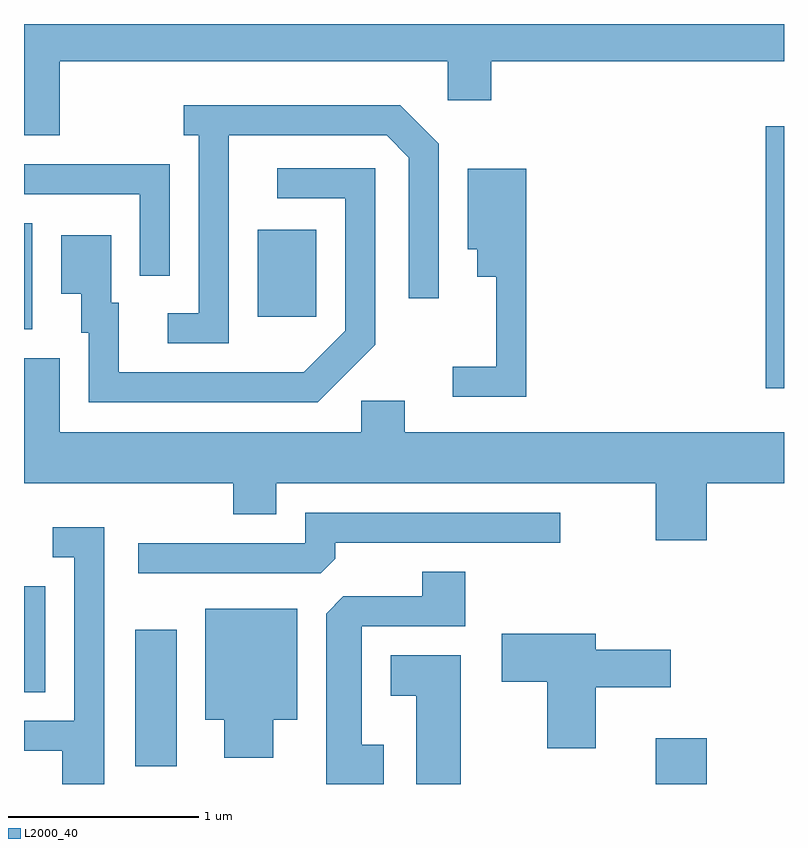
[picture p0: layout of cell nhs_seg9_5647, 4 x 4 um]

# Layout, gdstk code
import gdstk
lib = gdstk.Library(unit=1e-6, precision=1e-09)
def R(c, l, rs):  # rectangles x0, y0, x1, y1
    for r in rs: c.add(gdstk.rectangle(r[:2], r[2:], *l))
def P(c, l, *ps):  # polygons
    for p in ps: c.add(gdstk.Polygon(p, *l))
L2000_40 = (2000, 40)

nhs_seg9_5647 = lib.new_cell('nhs_seg9_5647')
R(nhs_seg9_5647, L2000_40, [(354.936,2012.432,355.204,2012.674), (352.196,2012.526,352.414,2013.244), (351.611,2012.916,351.724,2013.474), (355.516,2014.516,355.611,2015.894), (351.611,2014.826,351.654,2015.384), (352.841,2014.891,353.149,2015.349)])
P(nhs_seg9_5647, L2000_40, [(351.799,2016.236),(353.841,2016.236),(353.841,2016.031),(354.069,2016.031),(354.069,2016.236),(355.611,2016.236),(355.611,2016.432),(351.611,2016.432),(351.611,2015.846),(351.799,2015.846)],
  [(352.689,2015.846),(353.519,2015.846),(353.636,2015.729),(353.636,2014.988),(353.794,2014.988),(353.794,2015.802),(353.592,2016.004),(352.453,2016.004),(352.453,2015.846),(352.531,2015.846),(352.531,2014.909),(352.368,2014.909),(352.368,2014.751),(352.689,2014.751)],
  [(352.379,2015.694),(351.611,2015.694),(351.611,2015.536),(352.221,2015.536),(352.221,2015.108),(352.379,2015.108)],
  [(353.459,2014.744),(353.459,2015.674),(352.943,2015.674),(352.943,2015.516),(353.301,2015.516),(353.301,2014.817),(353.084,2014.599),(352.109,2014.599),(352.109,2014.964),(352.069,2014.964),(352.069,2015.319),(351.806,2015.319),(351.806,2015.011),(351.911,2015.011),(351.911,2014.806),(351.951,2014.806),(351.951,2014.441),(353.157,2014.441)],
  [(354.254,2015.669),(353.946,2015.669),(353.946,2015.246),(353.996,2015.246),(353.996,2015.101),(354.096,2015.101),(354.096,2014.629),(353.868,2014.629),(353.868,2014.471),(354.254,2014.471)],
  [(353.614,2014.449),(353.386,2014.449),(353.386,2014.284),(351.799,2014.284),(351.799,2014.674),(351.611,2014.674),(351.611,2014.016),(352.711,2014.016),(352.711,2013.851),(352.939,2013.851),(352.939,2014.016),(354.936,2014.016),(354.936,2013.716),(355.204,2013.716),(355.204,2014.016),(355.611,2014.016),(355.611,2014.284),(353.614,2014.284)],
  [(353.249,2013.617),(353.249,2013.701),(354.433,2013.701),(354.433,2013.859),(353.091,2013.859),(353.091,2013.699),(352.213,2013.699),(352.213,2013.541),(353.174,2013.541)],
  [(352.034,2013.784),(351.763,2013.784),(351.763,2013.626),(351.876,2013.626),(351.876,2012.764),(351.611,2012.764),(351.611,2012.606),(351.811,2012.606),(351.811,2012.432),(352.034,2012.432)],
  [(353.504,2012.639),(353.389,2012.639),(353.389,2013.261),(353.934,2013.261),(353.934,2013.549),(353.706,2013.549),(353.706,2013.419),(353.292,2013.419),(353.201,2013.329),(353.201,2012.432),(353.504,2012.432)],
  [(352.924,2012.771),(353.049,2012.771),(353.049,2013.354),(352.566,2013.354),(352.566,2012.771),(352.666,2012.771),(352.666,2012.571),(352.924,2012.571)],
  [(354.619,2012.941),(355.014,2012.941),(355.014,2013.139),(354.619,2013.139),(354.619,2013.224),(354.126,2013.224),(354.126,2012.971),(354.366,2012.971),(354.366,2012.621),(354.619,2012.621)],
  [(353.909,2013.109),(353.541,2013.109),(353.541,2012.896),(353.676,2012.896),(353.676,2012.432),(353.909,2012.432)])

lib.write_gds('nhs_seg9_5647.gds')
